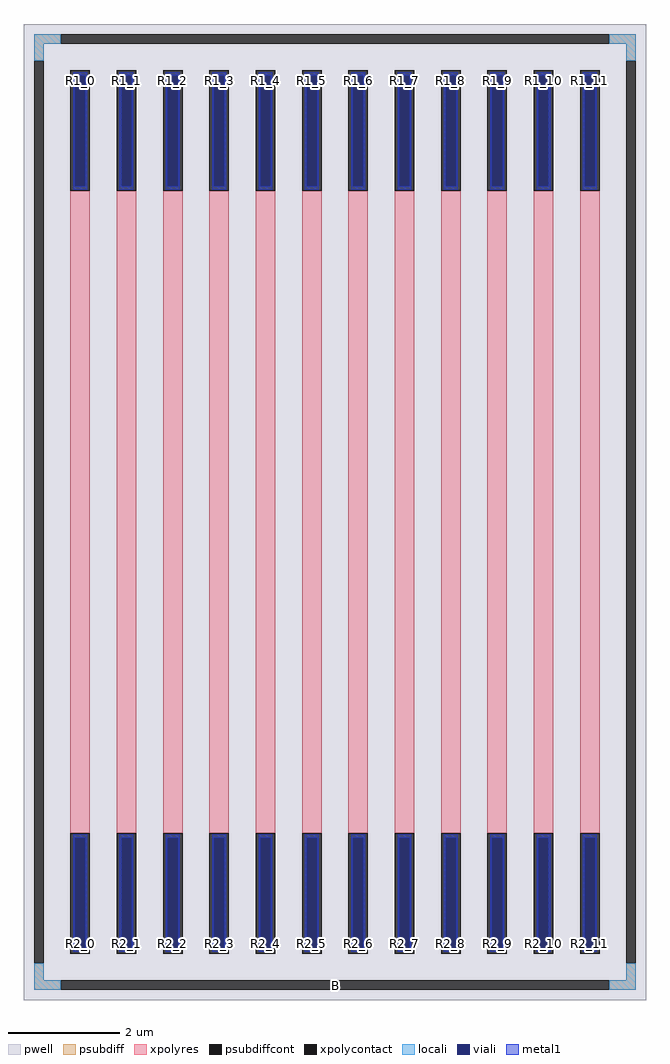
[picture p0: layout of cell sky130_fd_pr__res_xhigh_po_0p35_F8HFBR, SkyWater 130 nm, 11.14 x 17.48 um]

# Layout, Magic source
magic
tech sky130A
magscale 1 2
<< pwell >>
rect -1114 -1748 1114 1748
<< psubdiff >>
rect -1078 1678 -982 1712
rect 982 1678 1078 1712
rect -1078 1616 -1044 1678
rect 1044 1616 1078 1678
rect -1078 -1678 -1044 -1616
rect 1044 -1678 1078 -1616
rect -1078 -1712 -982 -1678
rect 982 -1712 1078 -1678
<< psubdiffcont >>
rect -982 1678 982 1712
rect -1078 -1616 -1044 1616
rect 1044 -1616 1078 1616
rect -982 -1712 982 -1678
<< xpolycontact >>
rect -948 1150 -878 1582
rect -948 -1582 -878 -1150
rect -782 1150 -712 1582
rect -782 -1582 -712 -1150
rect -616 1150 -546 1582
rect -616 -1582 -546 -1150
rect -450 1150 -380 1582
rect -450 -1582 -380 -1150
rect -284 1150 -214 1582
rect -284 -1582 -214 -1150
rect -118 1150 -48 1582
rect -118 -1582 -48 -1150
rect 48 1150 118 1582
rect 48 -1582 118 -1150
rect 214 1150 284 1582
rect 214 -1582 284 -1150
rect 380 1150 450 1582
rect 380 -1582 450 -1150
rect 546 1150 616 1582
rect 546 -1582 616 -1150
rect 712 1150 782 1582
rect 712 -1582 782 -1150
rect 878 1150 948 1582
rect 878 -1582 948 -1150
<< xpolyres >>
rect -948 -1150 -878 1150
rect -782 -1150 -712 1150
rect -616 -1150 -546 1150
rect -450 -1150 -380 1150
rect -284 -1150 -214 1150
rect -118 -1150 -48 1150
rect 48 -1150 118 1150
rect 214 -1150 284 1150
rect 380 -1150 450 1150
rect 546 -1150 616 1150
rect 712 -1150 782 1150
rect 878 -1150 948 1150
<< locali >>
rect -1078 1678 -982 1712
rect 982 1678 1078 1712
rect -1078 1616 -1044 1678
rect 1044 1616 1078 1678
rect -1078 -1678 -1044 -1616
rect 1044 -1678 1078 -1616
rect -1078 -1712 -982 -1678
rect 982 -1712 1078 -1678
<< viali >>
rect -932 1167 -894 1564
rect -766 1167 -728 1564
rect -600 1167 -562 1564
rect -434 1167 -396 1564
rect -268 1167 -230 1564
rect -102 1167 -64 1564
rect 64 1167 102 1564
rect 230 1167 268 1564
rect 396 1167 434 1564
rect 562 1167 600 1564
rect 728 1167 766 1564
rect 894 1167 932 1564
rect -932 -1564 -894 -1167
rect -766 -1564 -728 -1167
rect -600 -1564 -562 -1167
rect -434 -1564 -396 -1167
rect -268 -1564 -230 -1167
rect -102 -1564 -64 -1167
rect 64 -1564 102 -1167
rect 230 -1564 268 -1167
rect 396 -1564 434 -1167
rect 562 -1564 600 -1167
rect 728 -1564 766 -1167
rect 894 -1564 932 -1167
<< metal1 >>
rect -938 1564 -888 1576
rect -938 1167 -932 1564
rect -894 1167 -888 1564
rect -938 1155 -888 1167
rect -772 1564 -722 1576
rect -772 1167 -766 1564
rect -728 1167 -722 1564
rect -772 1155 -722 1167
rect -606 1564 -556 1576
rect -606 1167 -600 1564
rect -562 1167 -556 1564
rect -606 1155 -556 1167
rect -440 1564 -390 1576
rect -440 1167 -434 1564
rect -396 1167 -390 1564
rect -440 1155 -390 1167
rect -274 1564 -224 1576
rect -274 1167 -268 1564
rect -230 1167 -224 1564
rect -274 1155 -224 1167
rect -108 1564 -58 1576
rect -108 1167 -102 1564
rect -64 1167 -58 1564
rect -108 1155 -58 1167
rect 58 1564 108 1576
rect 58 1167 64 1564
rect 102 1167 108 1564
rect 58 1155 108 1167
rect 224 1564 274 1576
rect 224 1167 230 1564
rect 268 1167 274 1564
rect 224 1155 274 1167
rect 390 1564 440 1576
rect 390 1167 396 1564
rect 434 1167 440 1564
rect 390 1155 440 1167
rect 556 1564 606 1576
rect 556 1167 562 1564
rect 600 1167 606 1564
rect 556 1155 606 1167
rect 722 1564 772 1576
rect 722 1167 728 1564
rect 766 1167 772 1564
rect 722 1155 772 1167
rect 888 1564 938 1576
rect 888 1167 894 1564
rect 932 1167 938 1564
rect 888 1155 938 1167
rect -938 -1167 -888 -1155
rect -938 -1564 -932 -1167
rect -894 -1564 -888 -1167
rect -938 -1576 -888 -1564
rect -772 -1167 -722 -1155
rect -772 -1564 -766 -1167
rect -728 -1564 -722 -1167
rect -772 -1576 -722 -1564
rect -606 -1167 -556 -1155
rect -606 -1564 -600 -1167
rect -562 -1564 -556 -1167
rect -606 -1576 -556 -1564
rect -440 -1167 -390 -1155
rect -440 -1564 -434 -1167
rect -396 -1564 -390 -1167
rect -440 -1576 -390 -1564
rect -274 -1167 -224 -1155
rect -274 -1564 -268 -1167
rect -230 -1564 -224 -1167
rect -274 -1576 -224 -1564
rect -108 -1167 -58 -1155
rect -108 -1564 -102 -1167
rect -64 -1564 -58 -1167
rect -108 -1576 -58 -1564
rect 58 -1167 108 -1155
rect 58 -1564 64 -1167
rect 102 -1564 108 -1167
rect 58 -1576 108 -1564
rect 224 -1167 274 -1155
rect 224 -1564 230 -1167
rect 268 -1564 274 -1167
rect 224 -1576 274 -1564
rect 390 -1167 440 -1155
rect 390 -1564 396 -1167
rect 434 -1564 440 -1167
rect 390 -1576 440 -1564
rect 556 -1167 606 -1155
rect 556 -1564 562 -1167
rect 600 -1564 606 -1167
rect 556 -1576 606 -1564
rect 722 -1167 772 -1155
rect 722 -1564 728 -1167
rect 766 -1564 772 -1167
rect 722 -1576 772 -1564
rect 888 -1167 938 -1155
rect 888 -1564 894 -1167
rect 932 -1564 938 -1167
rect 888 -1576 938 -1564
<< labels >>
rlabel psubdiffcont 0 -1695 0 -1695 0 B
port 1 nsew
rlabel xpolycontact -913 1547 -913 1547 0 R1_0
port 2 nsew
rlabel xpolycontact -913 -1547 -913 -1547 0 R2_0
port 3 nsew
rlabel xpolycontact -747 1547 -747 1547 0 R1_1
port 4 nsew
rlabel xpolycontact -747 -1547 -747 -1547 0 R2_1
port 5 nsew
rlabel xpolycontact -581 1547 -581 1547 0 R1_2
port 6 nsew
rlabel xpolycontact -581 -1547 -581 -1547 0 R2_2
port 7 nsew
rlabel xpolycontact -415 1547 -415 1547 0 R1_3
port 8 nsew
rlabel xpolycontact -415 -1547 -415 -1547 0 R2_3
port 9 nsew
rlabel xpolycontact -249 1547 -249 1547 0 R1_4
port 10 nsew
rlabel xpolycontact -249 -1547 -249 -1547 0 R2_4
port 11 nsew
rlabel xpolycontact -83 1547 -83 1547 0 R1_5
port 12 nsew
rlabel xpolycontact -83 -1547 -83 -1547 0 R2_5
port 13 nsew
rlabel xpolycontact 83 1547 83 1547 0 R1_6
port 14 nsew
rlabel xpolycontact 83 -1547 83 -1547 0 R2_6
port 15 nsew
rlabel xpolycontact 249 1547 249 1547 0 R1_7
port 16 nsew
rlabel xpolycontact 249 -1547 249 -1547 0 R2_7
port 17 nsew
rlabel xpolycontact 415 1547 415 1547 0 R1_8
port 18 nsew
rlabel xpolycontact 415 -1547 415 -1547 0 R2_8
port 19 nsew
rlabel xpolycontact 581 1547 581 1547 0 R1_9
port 20 nsew
rlabel xpolycontact 581 -1547 581 -1547 0 R2_9
port 21 nsew
rlabel xpolycontact 747 1547 747 1547 0 R1_10
port 22 nsew
rlabel xpolycontact 747 -1547 747 -1547 0 R2_10
port 23 nsew
rlabel xpolycontact 913 1547 913 1547 0 R1_11
port 24 nsew
rlabel xpolycontact 913 -1547 913 -1547 0 R2_11
port 25 nsew
<< properties >>
string FIXED_BBOX -1061 -1695 1061 1695
string gencell sky130_fd_pr__res_xhigh_po_0p35
string library sky130
string parameters w 0.350 l 11.66 m 1 nx 12 wmin 0.350 lmin 0.50 class resistor rho 2000 val 67.704k dummy 0 dw 0.0 term 188.2 sterm 0.0 caplen 0 wmax 0.350 guard 1 glc 1 grc 1 gtc 1 gbc 1 compatible {sky130_fd_pr__res_xhigh_po_0p35  sky130_fd_pr__res_xhigh_po_0p69 sky130_fd_pr__res_xhigh_po_1p41  sky130_fd_pr__res_xhigh_po_2p85 sky130_fd_pr__res_xhigh_po_5p73} snake 0 full_metal 1 n_guard 0 hv_guard 0 vias 1 viagb 0 viagt 0 viagl 0 viagr 0 doports 1
<< end >>
